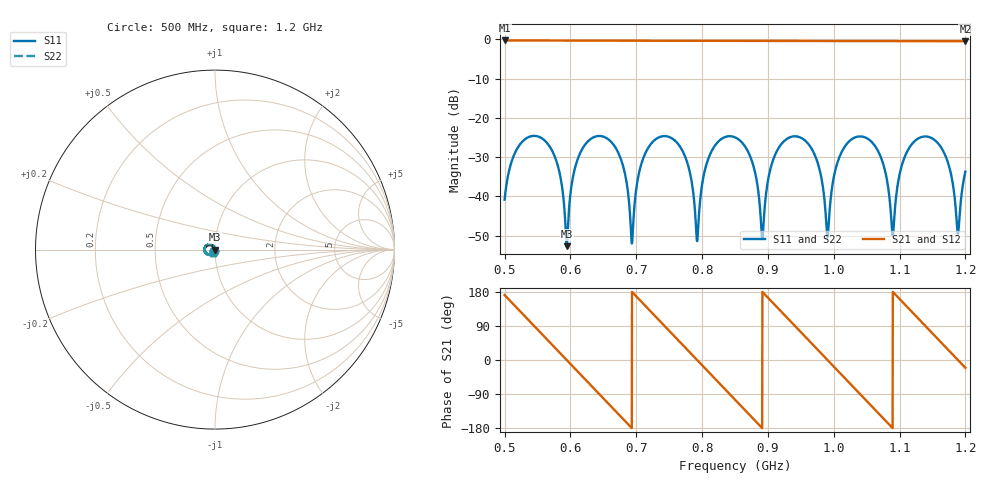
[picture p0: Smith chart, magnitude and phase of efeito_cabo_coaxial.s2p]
# HZ S RI R 50
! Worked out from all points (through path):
!   2001 points, 500 MHz to 1.2 GHz, reference 50 ohm
!   highest |S21| = -0.31 dB at 500 MHz (marker M1); lowest = -0.5 dB at 1.2 GHz (marker M2)
!   group delay of S21, straight-line fit = 5.05 ns
!   lowest |S11| = -52.7 dB at 594.1 MHz (marker M3), VSWR 1.00, Z = 49.8 + j0.0313 ohm
!   |S11| at or under -10 dB: start of sweep to end of sweep
!   |S22| runs from -52.7 to -24.6 dB; largest |S21 - S12| = 0
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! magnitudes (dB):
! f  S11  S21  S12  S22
! 500 MHz  -40.9  -0.3  -0.3  -40.9
! 554.6 MHz  -25.0  -0.3  -0.3  -25.0
! 594.1 MHz  -52.7  -0.3  -0.3  -52.7
! 616.9 MHz  -28.3  -0.4  -0.4  -28.3
! 667 MHz  -27.2  -0.4  -0.4  -27.2
! 693.5 MHz  -52.0  -0.4  -0.4  -52.0
! 733.5 MHz  -25.1  -0.4  -0.4  -25.1
! 772.3 MHz  -29.1  -0.4  -0.4  -29.1
! 792.6 MHz  -51.4  -0.4  -0.4  -51.4
! 811.9 MHz  -29.4  -0.4  -0.4  -29.4
! 850 MHz  -25.0  -0.4  -0.4  -25.0
! 891.3 MHz  -50.9  -0.4  -0.4  -50.9
! 917.5 MHz  -27.4  -0.4  -0.4  -27.4
! 966.9 MHz  -28.0  -0.5  -0.5  -28.0
! 990.4 MHz  -50.4  -0.5  -0.5  -50.4
! 1.031 GHz  -25.1  -0.5  -0.5  -25.1
! 1.083 GHz  -38.7  -0.5  -0.5  -38.7
! 1.09 GHz  -49.6  -0.5  -0.5  -49.6
! 1.135 GHz  -24.9  -0.5  -0.5  -24.9
! 1.17 GHz  -29.6  -0.5  -0.5  -29.6
! 1.188 GHz  -49.5  -0.5  -0.5  -49.5
! 1.2 GHz  -33.7  -0.5  -0.5  -33.7
